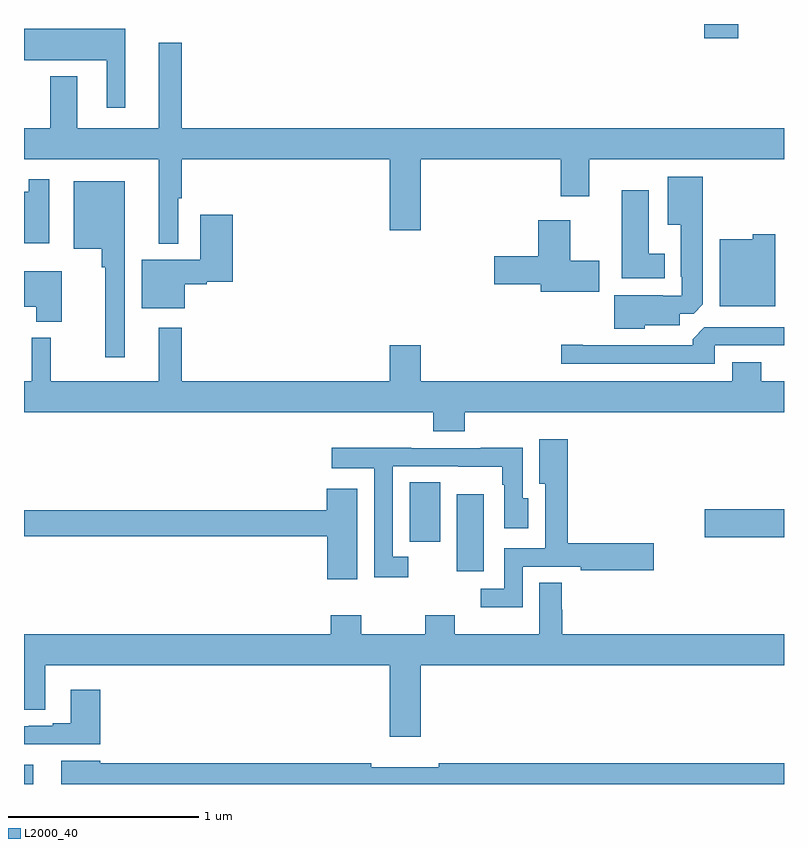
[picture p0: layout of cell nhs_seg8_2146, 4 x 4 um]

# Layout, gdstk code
import gdstk
lib = gdstk.Library(unit=1e-6, precision=1e-09)
def R(c, l, rs):  # rectangles x0, y0, x1, y1
    for r in rs: c.add(gdstk.rectangle(r[:2], r[2:], *l))
def P(c, l, *ps):  # polygons
    for p in ps: c.add(gdstk.Polygon(p, *l))
L2000_40 = (2000, 40)

nhs_seg8_2146 = lib.new_cell('nhs_seg8_2146')
R(nhs_seg8_2146, L2000_40, [(247,1091.9,247.048,1092.001), (249.278,1093.02,249.421,1093.426), (249.029,1093.176,249.19,1093.487), (250.584,1093.199,251,1093.346), (250.58,1095.825,250.758,1095.9)])
P(nhs_seg8_2146, L2000_40, [(247.534,1095.874),(247,1095.874),(247,1095.71),(247.436,1095.71),(247.436,1095.459),(247.534,1095.459)],
  [(247.813,1094.983),(247.831,1094.983),(247.831,1095.188),(248.924,1095.188),(248.924,1094.814),(249.088,1094.814),(249.088,1095.188),(249.824,1095.188),(249.824,1094.994),(249.976,1094.994),(249.976,1095.188),(251,1095.188),(251,1095.352),(247.831,1095.352),(247.831,1095.802),(247.709,1095.802),(247.709,1095.352),(247.279,1095.352),(247.279,1095.625),(247.139,1095.625),(247.139,1095.352),(247,1095.352),(247,1095.188),(247.709,1095.188),(247.709,1094.744),(247.813,1094.744)],
  [(250.266,1094.315),(250.45,1094.315),(250.45,1094.376),(250.524,1094.376),(250.573,1094.425),(250.573,1095.097),(250.388,1095.097),(250.388,1094.843),(250.457,1094.843),(250.457,1094.569),(250.461,1094.569),(250.461,1094.469),(250.361,1094.469),(250.361,1094.473),(250.106,1094.473),(250.106,1094.297),(250.266,1094.297)],
  [(247.134,1095.082),(247.026,1095.082),(247.026,1095.016),(247,1095.016),(247,1094.747),(247.134,1094.747)],
  [(247.531,1095.073),(247.262,1095.073),(247.262,1094.717),(247.41,1094.717),(247.41,1094.621),(247.427,1094.621),(247.427,1094.145),(247.531,1094.145)],
  [(250.372,1094.692),(250.288,1094.692),(250.288,1095.025),(250.145,1095.025),(250.145,1094.561),(250.372,1094.561)],
  [(247.846,1094.531),(247.962,1094.531),(247.962,1094.543),(248.099,1094.543),(248.099,1094.896),(247.928,1094.896),(247.928,1094.659),(247.619,1094.659),(247.619,1094.405),(247.846,1094.405)],
  [(250.027,1094.655),(249.874,1094.655),(249.874,1094.866),(249.707,1094.866),(249.707,1094.678),(249.474,1094.678),(249.474,1094.531),(249.719,1094.531),(249.719,1094.492),(250.027,1094.492)],
  [(250.954,1094.794),(250.836,1094.794),(250.836,1094.767),(250.661,1094.767),(250.661,1094.414),(250.954,1094.414)],
  [(247.198,1094.599),(247,1094.599),(247,1094.411),(247.064,1094.411),(247.064,1094.333),(247.198,1094.333)],
  [(250.635,1094.208),(251,1094.208),(251,1094.304),(250.581,1094.304),(250.52,1094.242),(250.52,1094.208),(249.94,1094.208),(249.94,1094.213),(249.828,1094.213),(249.828,1094.112),(250.635,1094.112)],
  [(249.155,1093.757),(249.32,1093.757),(249.32,1093.856),(251,1093.856),(251,1094.02),(250.88,1094.02),(250.88,1094.119),(250.727,1094.119),(250.727,1094.02),(249.088,1094.02),(249.088,1094.209),(248.924,1094.209),(248.924,1094.02),(247.831,1094.02),(247.831,1094.302),(247.709,1094.302),(247.709,1094.02),(247.142,1094.02),(247.142,1094.248),(247.04,1094.248),(247.04,1094.02),(247,1094.02),(247,1093.856),(249.155,1093.856)],
  [(249.624,1093.044),(249.93,1093.044),(249.93,1093.024),(250.315,1093.024),(250.315,1093.166),(249.862,1093.166),(249.862,1093.714),(249.713,1093.714),(249.713,1093.481),(249.743,1093.481),(249.743,1093.14),(249.528,1093.14),(249.528,1092.927),(249.405,1092.927),(249.405,1092.83),(249.624,1092.83)],
  [(249.022,1093.095),(248.94,1093.095),(248.94,1093.572),(249.286,1093.572),(249.286,1093.571),(249.516,1093.571),(249.516,1093.475),(249.528,1093.475),(249.528,1093.245),(249.655,1093.245),(249.655,1093.404),(249.624,1093.404),(249.624,1093.67),(249.403,1093.67),(249.403,1093.668),(249.037,1093.668),(249.037,1093.67),(248.619,1093.67),(248.619,1093.562),(248.844,1093.562),(248.844,1092.987),(249.022,1092.987)],
  [(248.755,1093.453),(248.594,1093.453),(248.594,1093.34),(247,1093.34),(247,1093.204),(248.597,1093.204),(248.597,1092.978),(248.755,1092.978)],
  [(249.088,1092.524),(251,1092.524),(251,1092.688),(249.832,1092.688),(249.832,1092.816),(249.83,1092.816),(249.83,1092.959),(249.713,1092.959),(249.713,1092.688),(249.267,1092.688),(249.267,1092.787),(249.112,1092.787),(249.112,1092.688),(248.775,1092.688),(248.775,1092.787),(248.615,1092.787),(248.615,1092.688),(247,1092.688),(247,1092.292),(247.111,1092.292),(247.111,1092.524),(248.924,1092.524),(248.924,1092.15),(249.088,1092.15)],
  [(247.4,1092.397),(247.247,1092.397),(247.247,1092.22),(247.151,1092.22),(247.151,1092.207),(247.024,1092.207),(247.024,1092.204),(247,1092.204),(247,1092.11),(247.4,1092.11)],
  [(251,1092.008),(249.184,1092.008),(249.184,1091.989),(248.828,1091.989),(248.828,1092.008),(247.402,1092.008),(247.402,1092.022),(247.196,1092.022),(247.196,1091.9),(251,1091.9)])

lib.write_gds('nhs_seg8_2146.gds')
